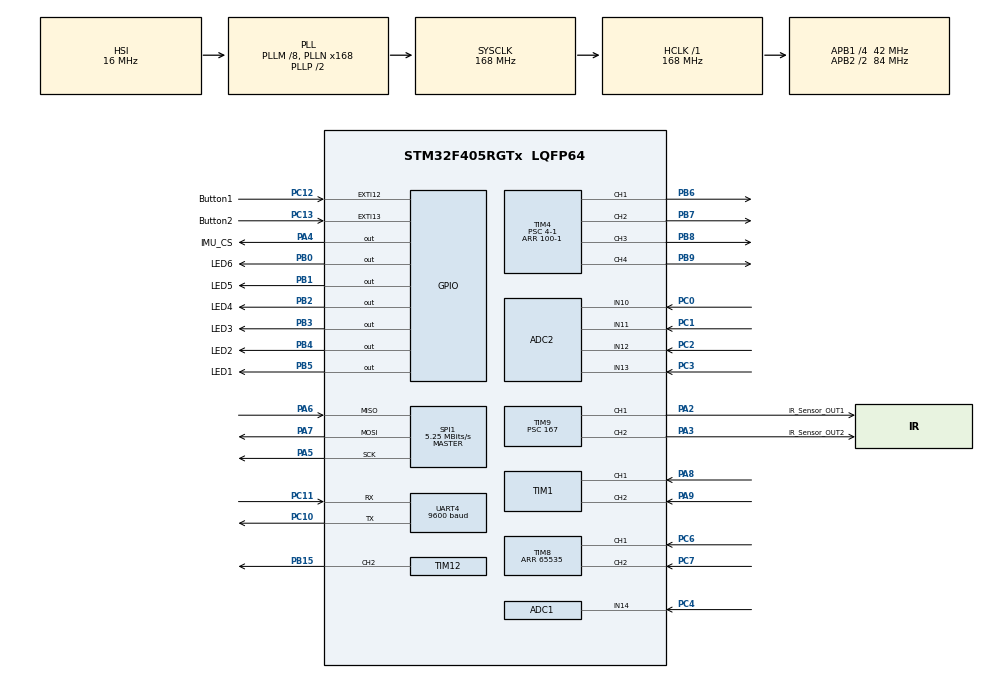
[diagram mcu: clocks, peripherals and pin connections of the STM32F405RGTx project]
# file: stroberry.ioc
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ADC1.Channel-0\#ChannelRegularConversion=ADC_CHANNEL_14
ADC1.NbrOfConversionFlag=1
ADC1.Rank-0\#ChannelRegularConversion=1
ADC1.SamplingTime-0\#ChannelRegularConversion=ADC_SAMPLETIME_15CYCLES
ADC1.master=1
ADC2.Channel-0\#ChannelRegularConversion=ADC_CHANNEL_10
ADC2.Channel-1\#ChannelRegularConversion=ADC_CHANNEL_11
ADC2.Channel-2\#ChannelRegularConversion=ADC_CHANNEL_12
ADC2.Channel-3\#ChannelRegularConversion=ADC_CHANNEL_13
ADC2.ClockPrescaler=ADC_CLOCK_SYNC_PCLK_DIV4
ADC2.ContinuousConvMode=DISABLE
ADC2.DMAContinuousRequests=ENABLE
ADC2.DiscontinuousConvMode=DISABLE
ADC2.ExternalTrigConv=ADC_EXTERNALTRIGCONV_T3_TRGO
ADC2.NbrOfConversion=4
ADC2.NbrOfConversionFlag=1
ADC2.Rank-0\#ChannelRegularConversion=1
ADC2.Rank-1\#ChannelRegularConversion=2
ADC2.Rank-2\#ChannelRegularConversion=3
ADC2.Rank-3\#ChannelRegularConversion=4
ADC2.SamplingTime-0\#ChannelRegularConversion=ADC_SAMPLETIME_15CYCLES
ADC2.SamplingTime-1\#ChannelRegularConversion=ADC_SAMPLETIME_15CYCLES
ADC2.SamplingTime-2\#ChannelRegularConversion=ADC_SAMPLETIME_15CYCLES
ADC2.SamplingTime-3\#ChannelRegularConversion=ADC_SAMPLETIME_15CYCLES
Dma.ADC2.0.Direction=DMA_PERIPH_TO_MEMORY
Dma.ADC2.0.FIFOMode=DMA_FIFOMODE_DISABLE
Dma.ADC2.0.Instance=DMA2_Stream2
Dma.ADC2.0.MemDataAlignment=DMA_MDATAALIGN_HALFWORD
Dma.ADC2.0.MemInc=DMA_MINC_ENABLE
Dma.ADC2.0.Mode=DMA_CIRCULAR
Dma.ADC2.0.PeriphDataAlignment=DMA_PDATAALIGN_HALFWORD
Dma.ADC2.0.PeriphInc=DMA_PINC_DISABLE
Dma.ADC2.0.Priority=DMA_PRIORITY_HIGH
Dma.Request0=ADC2
Mcu.Family=STM32F4
Mcu.Name=STM32F405RGTx
Mcu.Package=LQFP64
NVIC.DMA2_Stream2_IRQn=true\:0\:0\:false\:false\:true\:false\:true\:true
NVIC.EXTI15_10_IRQn=true\:0\:0\:false\:false\:true\:true\:true\:true
NVIC.PriorityGroup=NVIC_PRIORITYGROUP_4
NVIC.TIM1_TRG_COM_TIM11_IRQn=true\:0\:0\:false\:false\:true\:true\:true\:true
NVIC.TIM1_UP_TIM10_IRQn=true\:0\:0\:false\:false\:true\:true\:true\:true
NVIC.TIM6_DAC_IRQn=true\:0\:0\:false\:false\:true\:true\:true\:true
NVIC.TIM7_IRQn=true\:0\:0\:false\:false\:true\:true\:true\:true
NVIC.TIM8_UP_TIM13_IRQn=true\:0\:0\:false\:false\:true\:true\:true\:true
NVIC.UART4_IRQn=true\:0\:0\:false\:false\:true\:true\:true\:true
PA13.Mode=Serial_Wire
PA13.Signal=SYS_JTMS-SWDIO
PA14.Mode=Serial_Wire
PA14.Signal=SYS_JTCK-SWCLK
PA2.GPIO_Label=IR_Sensor_OUT1
PA2.Signal=S_TIM9_CH1
PA3.GPIO_Label=IR_Sensor_OUT2
PA3.Signal=S_TIM9_CH2
PA4.GPIO_Label=IMU_CS
PA4.Signal=GPIO_Output
PA5.GPIO_PuPd=GPIO_PULLUP
PA5.Mode=Full_Duplex_Master
PA5.Signal=SPI1_SCK
PA6.GPIO_PuPd=GPIO_PULLUP
PA6.Mode=Full_Duplex_Master
PA6.Signal=SPI1_MISO
PA7.GPIO_PuPd=GPIO_PULLUP
PA7.Mode=Full_Duplex_Master
PA7.Signal=SPI1_MOSI
PA8.Signal=S_TIM1_CH1
PA9.Signal=S_TIM1_CH2
PB0.GPIO_Label=LED6
PB0.GPIO_PuPd=GPIO_PULLDOWN
PB0.Signal=GPIO_Output
PB1.GPIO_Label=LED5
PB1.GPIO_PuPd=GPIO_PULLDOWN
PB1.Signal=GPIO_Output
PB15.Signal=S_TIM12_CH2
PB2.GPIO_Label=LED4
PB2.GPIO_PuPd=GPIO_PULLDOWN
PB2.Signal=GPIO_Output
PB3.GPIO_Label=LED3
PB3.GPIO_PuPd=GPIO_PULLDOWN
PB3.Signal=GPIO_Output
PB4.GPIO_Label=LED2
PB4.GPIO_PuPd=GPIO_PULLDOWN
PB4.Signal=GPIO_Output
PB5.GPIO_Label=LED1
PB5.GPIO_PuPd=GPIO_PULLDOWN
PB5.Signal=GPIO_Output
PB6.Signal=S_TIM4_CH1
PB7.Signal=S_TIM4_CH2
PB8.Signal=S_TIM4_CH3
PB9.Signal=S_TIM4_CH4
PC0.Signal=ADCx_IN10
PC1.Signal=ADCx_IN11
PC10.Mode=Asynchronous
PC10.Signal=UART4_TX
PC11.Mode=Asynchronous
PC11.Signal=UART4_RX
PC12.GPIO_Label=Button1
PC12.Signal=GPXTI12
PC13-ANTI_TAMP.GPIO_Label=Button2
PC13-ANTI_TAMP.Signal=GPXTI13
PC2.Signal=ADCx_IN12
PC3.Signal=ADCx_IN13
PC4.Signal=ADCx_IN14
PC6.Signal=S_TIM8_CH1
PC7.Signal=S_TIM8_CH2
ProjectManager.HeapSize=0x200
ProjectManager.StackSize=0x400
ProjectManager.TargetToolchain=Makefile
RCC.48MHZClocksFreq_Value=84000000
RCC.AHBFreq_Value=168000000
RCC.APB1CLKDivider=RCC_HCLK_DIV4
RCC.APB1Freq_Value=42000000
RCC.APB1TimFreq_Value=84000000
RCC.APB2CLKDivider=RCC_HCLK_DIV2
RCC.APB2Freq_Value=84000000
RCC.APB2TimFreq_Value=168000000
RCC.CortexFreq_Value=168000000
RCC.HCLKFreq_Value=168000000
RCC.HSE_VALUE=25000000
RCC.HSI_VALUE=16000000
RCC.LSE_VALUE=32768
RCC.PLLM=8
RCC.PLLN=168
RCC.SYSCLKFreq_VALUE=168000000
RCC.SYSCLKSource=RCC_SYSCLKSOURCE_PLLCLK
RCC.VCOOutputFreq_Value=336000000
SH.ADCx_IN10.0=ADC2_IN10,IN10
SH.ADCx_IN11.0=ADC2_IN11,IN11
SH.ADCx_IN12.0=ADC2_IN12,IN12
SH.ADCx_IN13.0=ADC2_IN13,IN13
SH.ADCx_IN14.0=ADC1_IN14,IN14
SH.S_TIM12_CH2.0=TIM12_CH2,PWM Generation2 CH2
SH.S_TIM1_CH1.0=TIM1_CH1,Encoder_Interface
SH.S_TIM1_CH2.0=TIM1_CH2,Encoder_Interface
SH.S_TIM4_CH1.0=TIM4_CH1,PWM Generation1 CH1
SH.S_TIM4_CH2.0=TIM4_CH2,PWM Generation2 CH2
SH.S_TIM4_CH3.0=TIM4_CH3,PWM Generation3 CH3
SH.S_TIM4_CH4.0=TIM4_CH4,PWM Generation4 CH4
SH.S_TIM8_CH1.0=TIM8_CH1,Encoder_Interface
SH.S_TIM8_CH2.0=TIM8_CH2,Encoder_Interface
SH.S_TIM9_CH1.0=TIM9_CH1,PWM Generation1 CH1
SH.S_TIM9_CH2.0=TIM9_CH2,PWM Generation2 CH2
SPI1.BaudRatePrescaler=SPI_BAUDRATEPRESCALER_16
SPI1.CLKPhase=SPI_PHASE_2EDGE
SPI1.CLKPolarity=SPI_POLARITY_HIGH
SPI1.CalculateBaudRate=5.25 MBits/s
SPI1.Direction=SPI_DIRECTION_2LINES
SPI1.Mode=SPI_MODE_MASTER
SPI1.VirtualType=VM_MASTER
TIM1.EncoderMode=TIM_ENCODERMODE_TI12
TIM10.Period=10000-1
TIM10.Prescaler=168-1
TIM11.Period=1000-1
TIM11.Prescaler=168-1
TIM12.Channel-PWM\ Generation2\ CH2=TIM_CHANNEL_2
TIM12.Period=1000-1
TIM12.Prescaler=21-1
TIM13.Period=1000-1
TIM13.Prescaler=84-1
TIM3.Period=25-1
TIM3.Prescaler=21-1
TIM3.TIM_MasterOutputTrigger=TIM_TRGO_UPDATE
TIM4.Channel-PWM\ Generation1\ CH1=TIM_CHANNEL_1
TIM4.Channel-PWM\ Generation2\ CH2=TIM_CHANNEL_2
TIM4.Channel-PWM\ Generation3\ CH3=TIM_CHANNEL_3
TIM4.Channel-PWM\ Generation4\ CH4=TIM_CHANNEL_4
TIM4.Period=100-1
TIM4.Prescaler=4-1
TIM6.Period=10000-1
TIM6.Prescaler=168-1
TIM7.Period=1000-1
TIM7.Prescaler=84-1
TIM8.EncoderMode=TIM_ENCODERMODE_TI12
TIM8.Period=65535
TIM9.Channel-PWM\ Generation1\ CH1=TIM_CHANNEL_1
TIM9.Channel-PWM\ Generation2\ CH2=TIM_CHANNEL_2
TIM9.Period=99
TIM9.Prescaler=167
UART4.BaudRate=9600
UART4.VirtualMode=Asynchronous
VP_TIM10_VS_ClockSourceINT.Mode=Enable_Timer
VP_TIM11_VS_ClockSourceINT.Mode=Enable_Timer
VP_TIM13_VS_ClockSourceINT.Mode=Enable_Timer
VP_TIM3_VS_ClockSourceINT.Mode=Internal
VP_TIM4_VS_ClockSourceINT.Mode=Internal
VP_TIM6_VS_ClockSourceINT.Mode=Enable_Timer
VP_TIM7_VS_ClockSourceINT.Mode=Enable_Timer
board=custom

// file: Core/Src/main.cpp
/* USER CODE BEGIN Header */
/**
 ******************************************************************************
 * @file           : main.c
 * @brief          : Main program body
 ******************************************************************************
 * @attention
 *
 * Copyright (c) 2023 STMicroelectronics.
 * All rights reserved.
 *
 * This software is licensed under terms that can be found in the LICENSE file
 * in the root directory of this software component.
 * If no LICENSE file comes with this software, it is provided AS-IS.
 *
 ******************************************************************************
 */
/* USER CODE END Header */
#include "main.h"

#include "adc.h"
#include "dma.h"
#include "gpio.h"
#include "spi.h"
#include "tim.h"
#include "usart.h"

/* USER CODE BEGIN Includes */

#include <cstdint>

#include "./buzzer.hpp"
#include "./data.hpp"
#include "./encoder.hpp"
#include "./global_state.hpp"
#include "./gyro.hpp"
#include "./ir_sensor.hpp"
#include "./motor.hpp"
#include "./robot_operation.hpp"
#include "logger.hpp"
/* USER CODE END Includes */

void SystemClock_Config(void);  // NOLINT
/* USER CODE BEGIN PFP */
// extern "C" void initialise_monitor_handles(void);
/* USER CODE END PFP */

/* USER CODE BEGIN 0 */
using global_state::GlobalState;

namespace {
std::uint8_t run_mode = 0;
std::uint8_t system_mode = 0;

bool led_mode = true;
}  // namespace

void HAL_TIM_PeriodElapsedCallback(TIM_HandleTypeDef *htim) {
  if (htim == &htim10) {
    GlobalState::ctrl_.status_.UpdateEncoder<pwm::Encoder<float, std::int16_t>, pwm::Encoder<float, std::int16_t>, &pwm::Encoder<float, std::int16_t>::ReadEncoderValue,
                                             &pwm::Encoder<float, std::int16_t>::ReadEncoderValue>(GlobalState::enc_.left, GlobalState::enc_.right);
  }
  if (htim == &htim6) {
    switch (GlobalState::test_mode_) {
      case param::TestMode::TURN_MODE:
        GlobalState::drive_rec_.push_back(data::drive_record(GlobalState::ctrl_.status_.GetAngVel(), GlobalState::motor_signal_));
        break;
      case param::TestMode::STRAIGHT_MODE:
        GlobalState::drive_rec_.push_back(data::drive_record(GlobalState::ctrl_.status_.GetSpeed(), GlobalState::motor_signal_));
        break;
      default:
        break;
    }
  }
  if (htim == &htim11) {
    GlobalState::ctrl_.status_.UpdateWallSensor([]() { return GlobalState::ir_sensor_.GetAverageIrValues(); });
    GlobalState::ctrl_.status_.UpdateGyro([]() { return GlobalState::gyro_.ReadGyro().z; });
  }

  if (htim == &htim13) {
    GlobalState::ctrl_.Update();
    GlobalState::ctrl_.DriveMotor<pwm::Motor, &pwm::Motor::DriveVcc>(GlobalState::motor_.left, GlobalState::motor_.right, -1, 1);
  }

  if (htim == &htim7) {
    if (led_mode) {
      HAL_GPIO_WritePin(LED1_GPIO_Port, LED1_Pin, (run_mode & 1) ? GPIO_PIN_SET : GPIO_PIN_RESET);
      HAL_GPIO_WritePin(LED2_GPIO_Port, LED2_Pin, ((run_mode >> 1) & 1) ? GPIO_PIN_SET : GPIO_PIN_RESET);
      HAL_GPIO_WritePin(LED3_GPIO_Port, LED3_Pin, ((run_mode >> 2) & 1) ? GPIO_PIN_SET : GPIO_PIN_RESET);
      HAL_GPIO_WritePin(LED5_GPIO_Port, LED5_Pin, ((system_mode & 1) ? GPIO_PIN_SET : GPIO_PIN_RESET));
      HAL_GPIO_WritePin(LED6_GPIO_Port, LED6_Pin, ((system_mode >> 1) & 1) ? GPIO_PIN_SET : GPIO_PIN_RESET);
    }
    GlobalState::batt_.ReadBatt();
  }
}

void HAL_ADC_ConvCpltCallback(ADC_HandleTypeDef *AdcHandle) {
  __disable_irq();
  if (AdcHandle == &hadc2) {
    GlobalState::ir_sensor_.IrSampling();

    if (GlobalState::ir_sensor_.ir_selection_ == adc::IrSensor<std::uint32_t>::IrSelection::FRONT) {
      GlobalState::ir_light_2_.IrFlashStop();
      GlobalState::ir_light_1_.IrFlashStart();
    } else {
      GlobalState::ir_light_1_.IrFlashStop();
      GlobalState::ir_light_2_.IrFlashStart();
    }
  }
  __enable_irq();
}
void HAL_GPIO_EXTI_Callback(std::uint16_t GPIO_Pin) {
  if (GPIO_Pin == Button1_Pin) {
    system_mode++;
    system_mode %= 3;
  }
  if (GPIO_Pin == Button2_Pin) {
    run_mode++;
    run_mode %= 8;
  }
}

void HAL_SYSTICK_Callback(void) {  // 1kHz
  // This is system clock timer
}

/* USER CODE END 0 */

int main() {
  /* USER CODE BEGIN 1 */
  // initialise_monitor_handles();

  /* USER CODE END 1 */

  /* MCU Configuration--------------------------------------------------------*/

  /* Reset of all peripherals, Initializes the Flash interface and the Systick. */
  HAL_Init();

  /* Configure the system clock */
  SystemClock_Config();

  /* Initialize all configured peripherals */
  MX_GPIO_Init();
  MX_DMA_Init();
  MX_ADC1_Init();
  MX_TIM4_Init();
  MX_TIM9_Init();
  MX_UART4_Init();
  MX_SPI1_Init();
  MX_TIM8_Init();
  MX_TIM12_Init();
  MX_ADC2_Init();
  MX_TIM3_Init();
  MX_TIM10_Init();
  MX_TIM11_Init();
  MX_TIM7_Init();
  MX_TIM6_Init();
  MX_TIM1_Init();
  MX_TIM13_Init();
  /* USER CODE BEGIN 2 */
  setbuf(stdout, nullptr);
  // Initialize plog with UART appender (info level)
  logging::InitLogger(plog::info);
  HAL_TIM_Encoder_Start(&htim1, TIM_CHANNEL_ALL);
  HAL_TIM_Encoder_Start(&htim8, TIM_CHANNEL_ALL);
  HAL_Delay(500);
  GlobalState::buzzer_.Init();
  GlobalState::ir_sensor_.Init();
  GlobalState::motor_.left.Init();
  GlobalState::motor_.right.Init();
  PLOG(plog::info) << "stroberry";
  HAL_GPIO_WritePin(LED1_GPIO_Port, LED1_Pin, GPIO_PIN_SET);
  HAL_GPIO_WritePin(LED2_GPIO_Port, LED2_Pin, GPIO_PIN_SET);
  HAL_GPIO_WritePin(LED3_GPIO_Port, LED3_Pin, GPIO_PIN_SET);
  HAL_GPIO_WritePin(LED5_GPIO_Port, LED5_Pin, GPIO_PIN_SET);
  HAL_Delay(500);
  // GlobalState::buzzer.beep("ok");
  // HAL_TIM_Base_Start_IT(&htim10);
  // HAL_TIM_Base_Start_IT(&htim11);
  HAL_TIM_Base_Start_IT(&htim7);
  // HAL_TIM_Base_Start_IT(&htim6);
  GlobalState::ir_light_1_.IrFlashStart();  // front
  GlobalState::ir_light_2_.IrFlashStart();  // side
  HAL_TIM_GenerateEvent(&htim3, TIM_EVENTSOURCE_UPDATE);
  HAL_TIM_Base_Start_IT(&htim3);

  /* USER CODE END 2 */

  /* Infinite loop */
  /* USER CODE BEGIN WHILE */
  while (true) {
    /* USER CODE END WHILE */

    /* USER CODE BEGIN 3 */

    while (system_mode > 0) {
      if (GlobalState::ir_sensor_.GetIrValue(0) >= 14.0f && GlobalState::ir_sensor_.GetIrValue(1) >= 14.0f) {
        led_mode = false;
        HAL_GPIO_WritePin(LED1_GPIO_Port, LED1_Pin, GPIO_PIN_RESET);
        HAL_GPIO_WritePin(LED2_GPIO_Port, LED2_Pin, GPIO_PIN_RESET);
        HAL_GPIO_WritePin(LED3_GPIO_Port, LED3_Pin, GPIO_PIN_RESET);
        HAL_GPIO_WritePin(LED4_GPIO_Port, LED4_Pin, GPIO_PIN_RESET);
        HAL_GPIO_WritePin(LED5_GPIO_Port, LED5_Pin, GPIO_PIN_RESET);
        HAL_GPIO_WritePin(LED6_GPIO_Port, LED6_Pin, GPIO_PIN_RESET);
        GlobalState::gyro_.Init();
        HAL_Delay(3000);

        switch (system_mode) {
          case 1:
            robot_operation::TrueRunMode(run_mode);
            break;

          case 2:
            robot_operation::AdjustMode(run_mode);
            break;
        }
        system_mode = 0;
      }

      HAL_Delay(1);
    }

    led_mode = true;

    HAL_Delay(1);
  }
  /* USER CODE END 3 */
}

// NOLINTBEGIN
void SystemClock_Config(void) {
  RCC_OscInitTypeDef RCC_OscInitStruct = {0};
  RCC_ClkInitTypeDef RCC_ClkInitStruct = {0};

  /** Configure the main internal regulator output voltage
   */
  __HAL_RCC_PWR_CLK_ENABLE();
  __HAL_PWR_VOLTAGESCALING_CONFIG(PWR_REGULATOR_VOLTAGE_SCALE1);

  /** Initializes the RCC Oscillators according to the specified parameters
   * in the RCC_OscInitTypeDef structure.
   */
  RCC_OscInitStruct.OscillatorType = RCC_OSCILLATORTYPE_HSI;
  RCC_OscInitStruct.HSIState = RCC_HSI_ON;
  RCC_OscInitStruct.HSICalibrationValue = RCC_HSICALIBRATION_DEFAULT;
  RCC_OscInitStruct.PLL.PLLState = RCC_PLL_ON;
  RCC_OscInitStruct.PLL.PLLSource = RCC_PLLSOURCE_HSI;
  RCC_OscInitStruct.PLL.PLLM = 8;
  RCC_OscInitStruct.PLL.PLLN = 168;
  RCC_OscInitStruct.PLL.PLLP = RCC_PLLP_DIV2;
  RCC_OscInitStruct.PLL.PLLQ = 4;
  if (HAL_RCC_OscConfig(&RCC_OscInitStruct) != HAL_OK) {
    Error_Handler();
  }

  /** Initializes the CPU, AHB and APB buses clocks
   */
  RCC_ClkInitStruct.ClockType = RCC_CLOCKTYPE_HCLK | RCC_CLOCKTYPE_SYSCLK | RCC_CLOCKTYPE_PCLK1 | RCC_CLOCKTYPE_PCLK2;
  RCC_ClkInitStruct.SYSCLKSource = RCC_SYSCLKSOURCE_PLLCLK;
  RCC_ClkInitStruct.AHBCLKDivider = RCC_SYSCLK_DIV1;
  RCC_ClkInitStruct.APB1CLKDivider = RCC_HCLK_DIV4;
  RCC_ClkInitStruct.APB2CLKDivider = RCC_HCLK_DIV2;

  if (HAL_RCC_ClockConfig(&RCC_ClkInitStruct, FLASH_LATENCY_5) != HAL_OK) {
    Error_Handler();
  }
}

/* USER CODE BEGIN 4 */
// extern "C" int _write(int file, char *ptr, int len)
// {
//   HAL_UART_Transmit(&huart4, (uint8_t *)ptr, len, 400);
//   return len;
// }
// int _io_put_char(int ch)
// {
//   HAL_UART_Transmit(&huart4, (uint8_t *)&ch, 1, 400);
//   return ch;
// }
/* USER CODE END 4 */

void Error_Handler(void) {
  /* USER CODE BEGIN Error_Handler_Debug */
  /* User can add his own implementation to report the HAL error return state
   */
  PLOG(plog::info) << "error";

  HAL_TIM_PWM_Stop(&htim4, TIM_CHANNEL_1);
  HAL_TIM_PWM_Stop(&htim4, TIM_CHANNEL_2);
  HAL_TIM_PWM_Stop(&htim4, TIM_CHANNEL_3);
  HAL_TIM_PWM_Stop(&htim4, TIM_CHANNEL_4);
  HAL_TIM_Base_Stop_IT(&htim10);
  HAL_TIM_Base_Stop_IT(&htim11);
  HAL_TIM_Encoder_Stop(&htim1, TIM_CHANNEL_ALL);
  HAL_TIM_Encoder_Stop(&htim8, TIM_CHANNEL_ALL);
  __HAL_TIM_SET_COMPARE(&htim12, TIM_CHANNEL_2, 500);

  __disable_irq();
  while (true) {
  }
  /* USER CODE END Error_Handler_Debug */
}
// NOLINTEND
